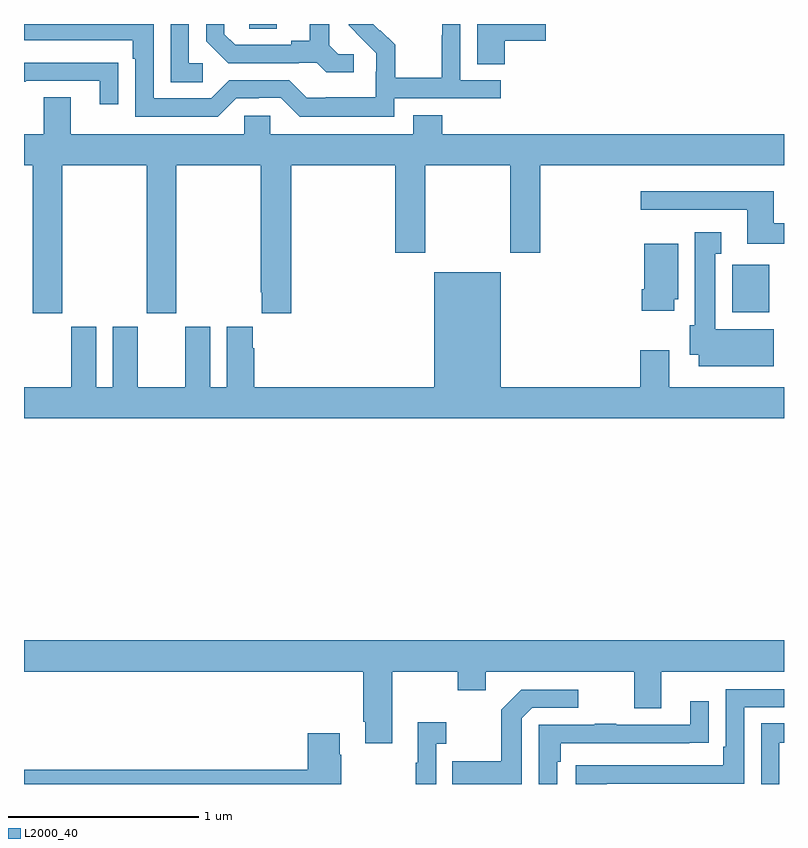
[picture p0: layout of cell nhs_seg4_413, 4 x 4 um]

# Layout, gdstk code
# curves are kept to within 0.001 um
import gdstk
lib = gdstk.Library(unit=1e-6, precision=1e-09)
def R(c, l, rs):  # rectangles x0, y0, x1, y1
    for r in rs: c.add(gdstk.rectangle(r[:2], r[2:], *l))
def P(c, l, *ps):  # polygons
    for p in ps: c.add(gdstk.Polygon(p, *l))
L2000_40 = (2000, 40)

nhs_seg4_413 = lib.new_cell('nhs_seg4_413')
R(nhs_seg4_413, L2000_40, [(134.727,793.382,134.923,793.632), (132.186,794.875,132.331,794.9)])
P(nhs_seg4_413, L2000_40, [(132.736,794.742),(132.654,794.742),(132.607,794.789),(132.607,794.9),(132.503,794.9),(132.503,794.813),(132.407,794.813),(132.407,794.79),(132.112,794.79),(132.055,794.847),(132.055,794.9),(131.958,794.9),(131.958,794.81),(132.074,794.694),(132.446,794.694),(132.446,794.697),(132.54,794.697),(132.592,794.645),(132.736,794.645)],
  [(132.948,794.508),(133.51,794.508),(133.51,794.604),(133.296,794.604),(133.296,794.9),(133.2,794.9),(133.2,794.84),(133.198,794.84),(133.198,794.617),(132.953,794.617),(132.953,794.791),(132.876,794.868),(132.873,794.865),(132.838,794.9),(132.708,794.9),(132.708,794.894),(132.854,794.746),(132.854,794.649),(132.852,794.649),(132.852,794.515),(132.589,794.515),(132.589,794.511),(132.489,794.511),(132.396,794.604),(132.081,794.604),(131.985,794.508),(131.682,794.508),(131.682,794.9),(131,794.9),(131,794.814),(131.573,794.814),(131.573,794.717),(131.586,794.717),(131.586,794.412),(132.021,794.412),(132.117,794.508),(132.236,794.508),(132.236,794.511),(132.351,794.511),(132.451,794.411),(132.948,794.411)],
  [(131.941,794.694),(131.868,794.694),(131.868,794.9),(131.772,794.9),(131.772,794.593),(131.941,794.593)],
  [(133.529,794.813),(133.747,794.813),(133.747,794.9),(133.385,794.9),(133.385,794.689),(133.529,794.689)],
  [(131.495,794.696),(131.393,794.696),(131.393,794.697),(131,794.697),(131,794.596),(131.009,794.596),(131.009,794.601),(131.399,794.601),(131.399,794.478),(131.495,794.478)],
  [(131.202,794.156),(131.647,794.156),(131.647,793.377),(131.802,793.377),(131.802,794.156),(132.247,794.156),(132.247,793.489),(132.251,793.489),(132.251,793.377),(132.407,793.377),(132.407,794.156),(132.953,794.156),(132.953,793.695),(133.113,793.695),(133.113,794.156),(133.558,794.156),(133.558,793.695),(133.718,793.695),(133.718,794.156),(135,794.156),(135,794.32),(133.202,794.32),(133.202,794.419),(133.049,794.419),(133.049,794.32),(132.297,794.32),(132.297,794.418),(132.159,794.418),(132.159,794.32),(131.245,794.32),(131.245,794.515),(131.105,794.515),(131.105,794.32),(131,794.32),(131,794.156),(131.047,794.156),(131.047,793.377),(131.202,793.377)],
  [(135,793.852),(134.947,793.852),(134.947,794.02),(134.247,794.02),(134.247,793.923),(134.807,793.923),(134.807,793.743),(135,793.743)],
  [(134.947,793.294),(134.638,793.294),(134.638,793.691),(134.671,793.691),(134.671,793.804),(134.531,793.804),(134.531,793.314),(134.504,793.314),(134.504,793.16),(134.552,793.16),(134.552,793.1),(134.947,793.1)],
  [(134.422,793.452),(134.443,793.452),(134.443,793.744),(134.264,793.744),(134.264,793.504),(134.252,793.504),(134.252,793.392),(134.422,793.392)],
  [(135,792.988),(134.395,792.988),(134.395,793.183),(134.243,793.183),(134.243,792.988),(133.51,792.988),(133.51,793.594),(133.16,793.594),(133.16,792.988),(132.212,792.988),(132.212,793.193),(132.205,793.193),(132.205,793.306),(132.068,793.306),(132.068,792.988),(131.98,792.988),(131.98,793.306),(131.849,793.306),(131.849,792.988),(131.599,792.988),(131.599,793.306),(131.468,793.306),(131.468,792.988),(131.38,792.988),(131.38,793.306),(131.249,793.306),(131.249,792.988),(131,792.988),(131,792.824),(135,792.824)],
  [(132.937,791.492),(133.282,791.492),(133.282,791.393),(133.429,791.393),(133.429,791.492),(134.213,791.492),(134.213,791.298),(134.353,791.298),(134.353,791.492),(135,791.492),(135,791.656),(131,791.656),(131,791.492),(132.785,791.492),(132.785,791.227),(132.797,791.227),(132.797,791.115),(132.937,791.115)],
  [(134.066,790.902),(134.79,790.902),(134.79,791.304),(135,791.304),(135,791.4),(134.694,791.4),(134.694,791.095),(134.681,791.095),(134.681,790.998),(133.905,790.998),(133.905,790.9),(134.066,790.9)],
  [(133.62,791.247),(133.674,791.301),(133.918,791.301),(133.918,791.397),(133.617,791.397),(133.512,791.291),(133.512,791.019),(133.255,791.019),(133.255,790.9),(133.62,790.9)],
  [(133.806,791.018),(133.826,791.018),(133.826,791.115),(134.501,791.115),(134.501,791.116),(134.603,791.116),(134.603,791.335),(134.507,791.335),(134.507,791.211),(134.117,791.211),(134.117,791.216),(134.005,791.216),(134.005,791.211),(133.71,791.211),(133.71,790.9),(133.806,790.9)],
  [(133.17,791.111),(133.222,791.111),(133.222,791.224),(133.073,791.224),(133.073,791.011),(133.062,791.011),(133.062,790.9),(133.17,790.9)],
  [(134.976,791.118),(135,791.118),(135,791.219),(134.88,791.219),(134.88,790.9),(134.976,790.9)],
  [(132.669,791.054),(132.661,791.054),(132.661,791.167),(132.494,791.167),(132.494,790.976),(131,790.976),(131,790.9),(132.669,790.9)])

lib.write_gds('nhs_seg4_413.gds')
